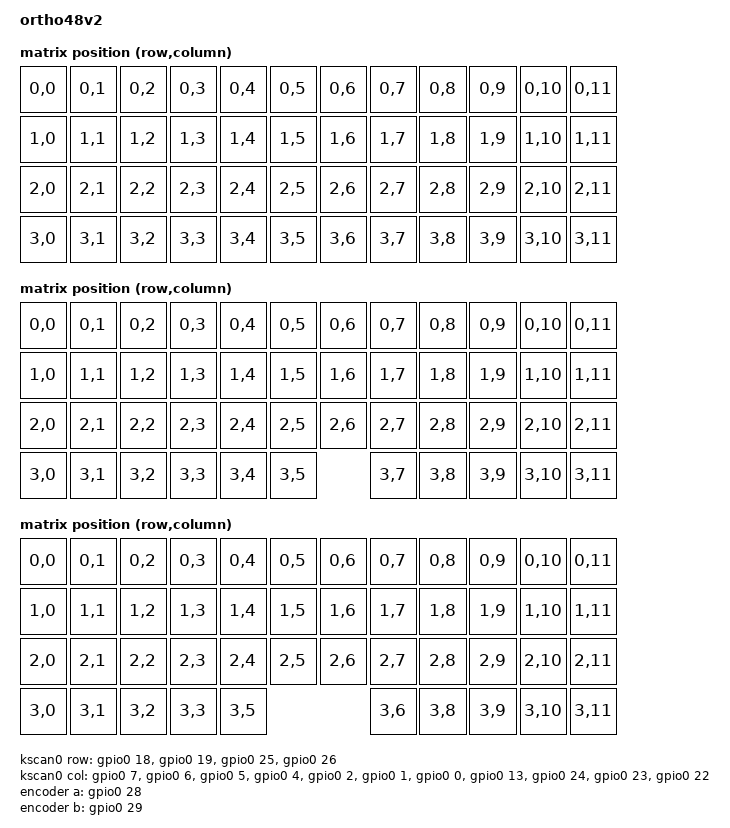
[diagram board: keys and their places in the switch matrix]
/dts-v1/;
#include <rpi_pico/rp2040.dtsi>
#include <dt-bindings/zmk/matrix_transform.h>

#include <layouts/common/ortho_4x12/1x2u.dtsi>
#include <layouts/common/ortho_4x12/2x2u.dtsi>
#include <layouts/common/ortho_4x12/all1u.dtsi>

/ {
    model = "ortho48v2";
    compatible = "ortho48v2";

    chosen {
        zephyr,sram = &sram0;
        zephyr,flash = &flash0;
        zephyr,code-partition = &code_partition;
        zmk,kscan = &kscan0;
        zmk,physical-layout = &layout_ortho_4x12_2x2u;
    };

    xtal_clk: xtal-clk {
        compatible = "fixed-clock";
        clock-frequency = <12000000>;
        #clock-cells = <0>;
    };

    kscan0: kscan {
        // If the hardware does not use a switch matrix, change this to the
        // appropriate driver and update the properties below to match.
        // See https://zmk.dev/docs/config/kscan for supported key scan drivers.
        compatible = "zmk,kscan-gpio-matrix";
        // Set this to "col2row" or "row2col" to match the hardware. If using
        // "row2col", change the col-gpios to (GPIO_ACTIVE_HIGH | GPIO_PULL_DOWN)
        // and the row-gpios to GPIO_ACTIVE_HIGH.
        diode-direction = "col2row";
        wakeup-source;

        // Replace these comments with the GPIO pins in the matrix.
        // See https://zmk.dev/docs/development/hardware-integration/new-shield#shield-overlays
        col-gpios
            = <&gpio0 7 GPIO_ACTIVE_HIGH>
            , <&gpio0 6 GPIO_ACTIVE_HIGH>
            , <&gpio0 5 GPIO_ACTIVE_HIGH>
            , <&gpio0 4 GPIO_ACTIVE_HIGH>
            , <&gpio0 2 GPIO_ACTIVE_HIGH>
            , <&gpio0 1 GPIO_ACTIVE_HIGH>
            , <&gpio0 0 GPIO_ACTIVE_HIGH>
            , <&gpio0 13 GPIO_ACTIVE_HIGH>
            , <&gpio0 24 GPIO_ACTIVE_HIGH>
            , <&gpio0 23 GPIO_ACTIVE_HIGH>
            , <&gpio0 22 GPIO_ACTIVE_HIGH>
            ;

        row-gpios
            = <&gpio0 18 (GPIO_ACTIVE_HIGH | GPIO_PULL_DOWN)>
            , <&gpio0 19 (GPIO_ACTIVE_HIGH | GPIO_PULL_DOWN)>
            , <&gpio0 25 (GPIO_ACTIVE_HIGH | GPIO_PULL_DOWN)>
            , <&gpio0 26 (GPIO_ACTIVE_HIGH | GPIO_PULL_DOWN)>
            ;
    };

    encoder: encoder {
        compatible = "alps,ec11";
        a-gpios = <&gpio0 28 GPIO_PULL_UP>;
        b-gpios = <&gpio0 29 GPIO_PULL_UP>;
        steps = <80>;
        status = "disabled";
    };

    sensors: sensors {
        compatible = "zmk,keymap-sensors";
        sensors = <&encoder>;
        triggers-per-rotation = <20>;
    };

    layout_grid_transform: keymap_transform_0 {
        compatible = "zmk,matrix-transform";
        columns = <12>;
        rows = <4>;

        map = <
            RC(0,0) RC(0,1) RC(0,2) RC(0,3) RC(0,4) RC(0,5) RC(0,6) RC(0,7) RC(0,8) RC(0,9) RC(0,10) RC(0,11)
            RC(1,0) RC(1,1) RC(1,2) RC(1,3) RC(1,4) RC(1,5) RC(1,6) RC(1,7) RC(1,8) RC(1,9) RC(1,10) RC(1,11)
            RC(2,0) RC(2,1) RC(2,2) RC(2,3) RC(2,4) RC(2,5) RC(2,6) RC(2,7) RC(2,8) RC(2,9) RC(2,10) RC(2,11)
            RC(3,0) RC(3,1) RC(3,2) RC(3,3) RC(3,4) RC(3,5) RC(3,6) RC(3,7) RC(3,8) RC(3,9) RC(3,10) RC(3,11)
        >;
    };

    layout_mit_transform: keymap_transform_1 {
        compatible = "zmk,matrix-transform";
        columns = <12>;
        rows = <4>;

        map = <
            RC(0,0) RC(0,1) RC(0,2) RC(0,3) RC(0,4) RC(0,5) RC(0,6) RC(0,7) RC(0,8) RC(0,9) RC(0,10) RC(0,11)
            RC(1,0) RC(1,1) RC(1,2) RC(1,3) RC(1,4) RC(1,5) RC(1,6) RC(1,7) RC(1,8) RC(1,9) RC(1,10) RC(1,11)
            RC(2,0) RC(2,1) RC(2,2) RC(2,3) RC(2,4) RC(2,5) RC(2,6) RC(2,7) RC(2,8) RC(2,9) RC(2,10) RC(2,11)
            RC(3,0) RC(3,1) RC(3,2) RC(3,3) RC(3,4)     RC(3,5)     RC(3,7) RC(3,8) RC(3,9) RC(3,10) RC(3,11)
        >;
    };

    layout_2x2u_transform: keymap_transform_2 {
        compatible = "zmk,matrix-transform";
        columns = <12>;
        rows = <4>;

        map = <
            RC(0,0) RC(0,1) RC(0,2) RC(0,3) RC(0,4) RC(0,5) RC(0,6) RC(0,7) RC(0,8) RC(0,9) RC(0,10) RC(0,11)
            RC(1,0) RC(1,1) RC(1,2) RC(1,3) RC(1,4) RC(1,5) RC(1,6) RC(1,7) RC(1,8) RC(1,9) RC(1,10) RC(1,11)
            RC(2,0) RC(2,1) RC(2,2) RC(2,3) RC(2,4) RC(2,5) RC(2,6) RC(2,7) RC(2,8) RC(2,9) RC(2,10) RC(2,11)
            RC(3,0) RC(3,1) RC(3,2) RC(3,3)     RC(3,5)         RC(3,6)     RC(3,8) RC(3,9) RC(3,10) RC(3,11)
        >;
    };

};

&flash0 {
    reg = <0x10000000 DT_SIZE_M(16)>;

    partitions {
        compatible = "fixed-partitions";
        #address-cells = <1>;
        #size-cells = <1>;

        /* Reserved memory for the second stage bootloader */
        second_stage_bootloader: partition@0 {
            reg = <0x00000000 0x100>;
            read-only;
        };

        /*
         * Usable flash. Starts at 0x100, after the bootloader. The partition
         * size is 16MB minus the 0x100 bytes taken by the bootloader.
         */
        code_partition: partition@100 {
            reg = <0x100 (DT_SIZE_M(16) - 0x100)>;
            read-only;
        };
    };
};

zephyr_udc0: &usbd {
    status = "okay";
};

&gpio0 {
    status = "okay";
};

&layout_ortho_4x12_all1u {
    transform = <&layout_grid_transform>;
};

&layout_ortho_4x12_1x2u {
    transform = <&layout_mit_transform>;
};

&layout_ortho_4x12_2x2u {
    transform = <&layout_2x2u_transform>;
};

&layouts_common_ortho_4x12_position_map {
    layout_ortho_4x12_2x2u_posmap: layout_ortho_4x12_2x2u {
        physical-layout = <&layout_ortho_4x12_2x2u>;
        positions
            = < 0  1  2  3  4  5  6  7  8  9 10 11>
            , <12 13 14 15 16 17 18 19 20 21 22 23>
            , <24 25 26 27 28 29 30 31 32 33 34 35>
            , <36 37 38 39 47 40 41 46 42 43 44 45>
            ;
    };
};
